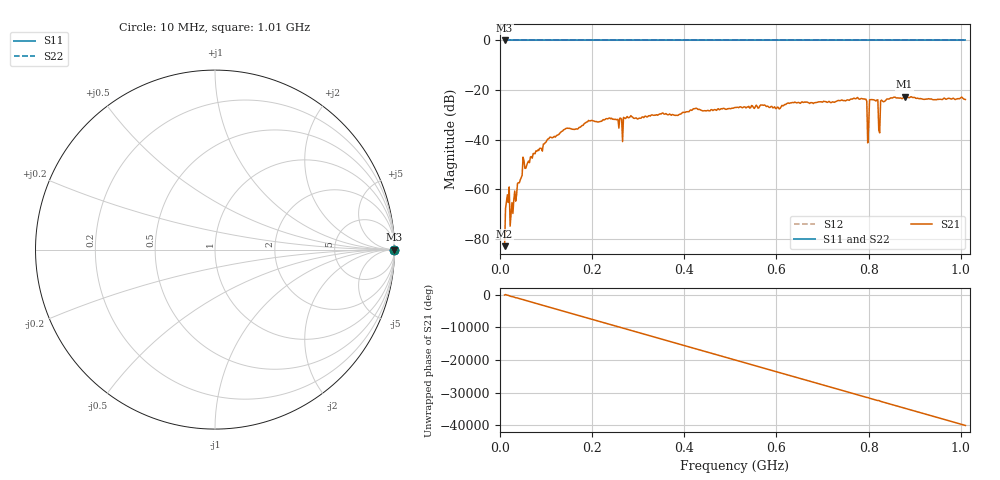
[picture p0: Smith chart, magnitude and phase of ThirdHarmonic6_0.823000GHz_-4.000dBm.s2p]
! 8/16/2025 3:20:40 AM
! C:\ANRITSUVNA\TEMP\TEMP.S2P
! CHANNEL.1
! TR.MEASUREMENT
! RAW.DATA
! RF.CORRECTION.OFF
! AVERAGING.OFF
! IF.BANDWIDTH: 5KHZ
! SWEEPTYPE:  FREQ.SWEEP(Linear)
! Reference Plane Port Info
! PORT:  PORT1  PORT2
! DISTANCE:  0  m  0  m
! TIME:  0  s  0  s
! PHASE.OFFSET:  0  deg.  0  deg.
! LOSS:  0  dB  0  dB
! REF.LOSS:  0  dB  0  dB
! REF.FREQ:  0  Hz  0  Hz
! Power Info
! POWER:  -20  dBm  -20  dBm
! EFF.POWER:  -20  dBm  -20  dBm
! SOURCE.ATTEN:  0  dB  0  dB
! TEST.ATTEN:  0  dB  0  dB
# GHZ S RI R 50.0
! FREQ.GHZ  S11RE  S11IM  S21RE  S21IM  S12RE  S12IM  S22RE  S22IM
!; PortSelection: Port_12
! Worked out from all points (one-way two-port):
!   501 points, 10 MHz to 1.01 GHz, reference 50 ohm
!   highest |S21| = -22.58 dB at 878 MHz (marker M1); lowest = -82.8 dB at 10 MHz (marker M2)
!   lowest |S11| = 0.0 dB at 10 MHz (marker M3)
!   |S11| at or under -10 dB: nowhere
!   |S22| runs from 0.0 to 0.0 dB; largest |S21 - S12| = 1.1
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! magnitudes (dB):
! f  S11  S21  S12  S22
! 10 MHz  0.0  -82.8  0.0  0.0
! 16 MHz  0.0  -62.1  0.0  0.0
! 26 MHz  0.0  -65.3  0.0  0.0
! 54 MHz  0.0  -51.5  0.0  0.0
! 106 MHz  0.0  -39.6  0.0  0.0
! 178 MHz  0.0  -34.2  0.0  0.0
! 238 MHz  0.0  -31.2  0.0  0.0
! 262 MHz  0.0  -31.3  0.0  0.0
! 344 MHz  0.0  -29.8  0.0  0.0
! 510 MHz  0.0  -27.0  0.0  0.0
! 678 MHz  0.0  -25.1  0.0  0.0
! 790 MHz  0.0  -23.5  0.0  0.0
! 796 MHz  0.0  -24.5  0.0  0.0
! 800 MHz  0.0  -34.8  0.0  0.0
! 806 MHz  0.0  -23.8  0.0  0.0
! 816 MHz  0.0  -24.4  0.0  0.0
! 820 MHz  0.0  -23.9  0.0  0.0
! 826 MHz  0.0  -24.3  0.0  0.0
! 830 MHz  0.0  -24.4  0.0  0.0
! 844 MHz  0.0  -23.6  0.0  0.0
! 878 MHz  0.0  -22.6  0.0  0.0
! 1.01 GHz  0.0  -23.8  0.0  0.0
